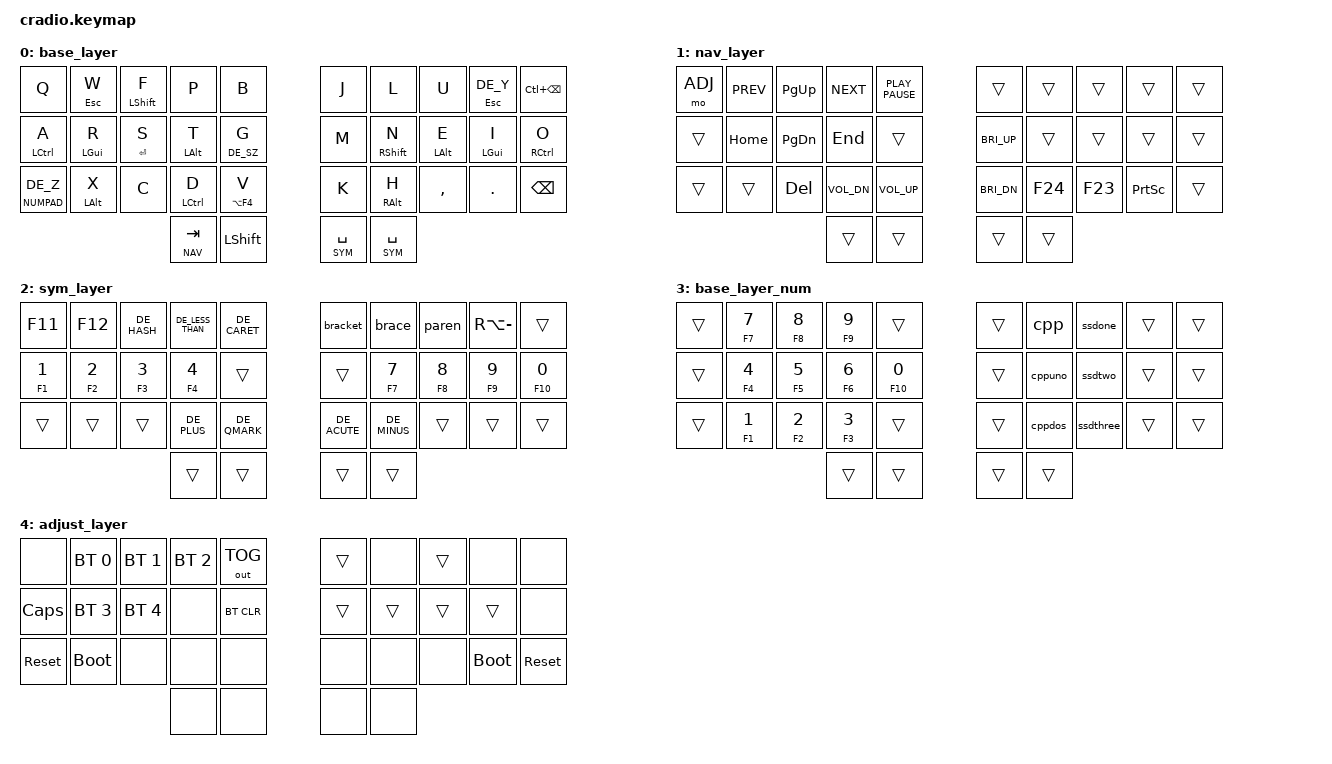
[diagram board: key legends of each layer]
/*
 * Copyright (c) 2020 The ZMK Contributors
 *
 * SPDX-License-Identifier: MIT
 */

#include <behaviors.dtsi>
#include <dt-bindings/zmk/keys.h>
#include <dt-bindings/zmk/bt.h>
#include <dt-bindings/zmk/outputs.h>

#include <dt-bindings/zmk/ext_power.h>
#include "keys_de.h"
#include "../zmk-nodefree-config/helper.h"
//this is the first commit



#define XXX &none
#define ___ &trans

#define BASE 0
#define NAV 1
#define SYM 2
#define NUMPAD 3 
#define ADJ 4


        /*                KEY POSITIONS
  ╭────────────────────╮ ╭────────────────────╮
  │  0   1   2   3   4 │ │  5   6   7   8   9 │
  │ 10  11  12  13  14 │ │ 15  16  17  18  19 │
  │ 20  21  22  23  24 │ │ 25  26  27  28  29 │
  ╰───────────╮ 30  31 │ │ 32  33 ╭───────────╯
              ╰────────╯ ╰────────╯            */


ZMK_COMBO(pwr,  &kp C_POWER, 0 4, ALL)
ZMK_COMBO(f23,  &kp F23, 10 20, ALL)
ZMK_COMBO(f24,  &kp F24, 19 29, ALL)

ZMK_COMBO(quote,&kp DE_DQT, 8 18, ALL)
ZMK_COMBO(apostroph,  &kp DE_APOS, 0 10, ALL)

ZMK_COMBO(five,  &kp N5, 3 13, ALL)
ZMK_COMBO(six,  &kp N6, 6 16, ALL)
ZMK_COMBO(ae,  &kp DE_A_UMLAUT, 10 17, ALL)
ZMK_COMBO(ue,  &kp DE_U_UMLAUT, 7 17, ALL)
ZMK_COMBO(oe,  &kp DE_O_UMLAUT, 17 19, ALL)


ZMK_COMBO(up,  &kp UP, 11 12 13, ALL)
ZMK_COMBO(down,  &kp DOWN, 11 13, ALL)
ZMK_COMBO(right,  &kp RIGHT, 12 13, ALL)
ZMK_COMBO(left,  &kp LEFT, 11 12, ALL)

ZMK_COMBO(scCombo,  &scModMorph, 12 22, ALL)
ZMK_COMBO(ecommaCombo,  &ecomma, 17 27, ALL)

//home row mods
ZMK_BEHAVIOR(hm, hold_tap,
    flavor = "tap-preferred";
    tapping-term-ms = <280>;
    quick-tap-ms = <125>;
    global-quick-tap;
    bindings = <&kp>, <&kp>;
)
ZMK_BEHAVIOR(hma, hold_tap,
    flavor = "tap-preferred";
    tapping-term-ms = <280>;
    quick-tap-ms = <125>;
    global-quick-tap;
    bindings = <&kp>, <&amac>;
)
ZMK_BEHAVIOR(hmr, hold_tap,
    flavor = "tap-preferred";
    tapping-term-ms = <280>;
    quick-tap-ms = <125>;
    global-quick-tap;
    bindings = <&kp>, <&rmac>;
)
ZMK_BEHAVIOR(hms, hold_tap,
    flavor = "tap-preferred";
    tapping-term-ms = <280>;
    quick-tap-ms = <125>;
    global-quick-tap;
    bindings = <&kp>, <&smac>;
)
ZMK_BEHAVIOR(hmt, hold_tap,
    flavor = "tap-preferred";
    tapping-term-ms = <280>;
    quick-tap-ms = <125>;
    global-quick-tap;
    bindings = <&kp>, <&tmac>;
)
ZMK_BEHAVIOR(hmn, hold_tap,
    flavor = "tap-preferred";
    tapping-term-ms = <280>;
    quick-tap-ms = <125>;
    global-quick-tap;
    bindings = <&kp>, <&nmac>;
)
ZMK_BEHAVIOR(hme, hold_tap,
    flavor = "tap-preferred";
    tapping-term-ms = <280>;
    quick-tap-ms = <125>;
    global-quick-tap;
    bindings = <&kp>, <&emac>;
)
ZMK_BEHAVIOR(hmi, hold_tap,
    flavor = "tap-preferred";
    tapping-term-ms = <280>;
    quick-tap-ms = <125>;
    global-quick-tap;
    bindings = <&kp>, <&imac>;
)
ZMK_BEHAVIOR(hmo, hold_tap,
    flavor = "tap-preferred";
    tapping-term-ms = <280>;
    quick-tap-ms = <125>;
    global-quick-tap;
    bindings = <&kp>, <&omac>;
)

//macros

    
ZMK_BEHAVIOR(ecomma, macro,
    wait-ms = <0>;
    tap-ms = <0>;
    bindings = <&kp E &kp COMMA>;)
ZMK_BEHAVIOR(sc, macro,
    wait-ms = <0>;
    tap-ms = <0>;
    bindings = <&kp S &kp C>;)

ZMK_BEHAVIOR(capitalSlowC, macro,
    wait-ms = <0>;
    tap-ms = <0>;
    bindings = <&kp LS(S) &kp C >;)
ZMK_BEHAVIOR(bracket, macro,
    wait-ms = <0>;
    tap-ms = <0>;
    bindings = <&kp DE_LEFT_BRACKET &kp DE_RIGHT_BRACKET &kp LEFT >;)
ZMK_BEHAVIOR(brace, macro,
    wait-ms = <0>;
    tap-ms = <0>;
    bindings = <&kp DE_LEFT_BRACE &kp DE_RIGHT_BRACE &kp LEFT >;)
ZMK_BEHAVIOR(paren, macro,
    wait-ms = <0>;
    tap-ms = <0>;
    bindings = <&kp DE_LEFT_PARENTHESIS &kp DE_RIGHT_PARENTHESIS &kp LEFT >;)
ZMK_BEHAVIOR(cppone, macro,
    wait-ms = <10>;
    tap-ms = <10>;
    bindings = < &kp DE_POUND &kp DE_I &kp DE_N &kp DE_C &kp DE_L &kp DE_U &kp DE_D &kp DE_E &kp DE_SPACE&kp DE_DQT &kp LS(DE_C) &kp LS(DE_P) &kp DE_W &kp DE_M &kp DE_N4 &kp DE_DOT &kp DE_H &kp DE_DQT &kp RET &kp LS(DE_C) &kp LS(DE_P) &kp DE_W &kp DE_M &kp DE_N4 &kp DE_COLON &kp DE_COLON &kp LS(DE_C) &kp LS(DE_P) &kp DE_W &kp DE_M &kp DE_N4 &kp DE_LPAR &kp DE_U &kp DE_I &kp DE_N &kp DE_T &kp DE_N1 &kp DE_N6 &kp DE_UNDER &kp DE_T &kp DE_SPACE&kp DE_P &kp DE_E &kp DE_R &kp DE_I &kp DE_O &kp DE_D &kp DE_RPAR &kp DE_SPACE&kp DE_LBRC &kp RET  &kp DE_M &kp DE_UNDER &kp DE_P &kp DE_W &kp DE_M &kp LS(DE_O) &kp DE_U &kp DE_T &kp DE_EQUAL &kp DE_N0 &kp DE_SEMI &kp RET  &kp LS(DE_R) &kp LS(DE_C) &kp LS(DE_C) &kp DE_MINUS &kp DE_GT &kp LS(DE_A) &kp LS(DE_P) &kp LS(DE_B) &kp DE_N1 &kp LS(DE_E) &kp LS(DE_N) &kp LS(DE_R) &kp DE_SPACE&kp DE_PIPE &kp DE_EQUAL &kp DE_SPACE&kp LS(DE_R) &kp LS(DE_C) &kp LS(DE_C) &kp DE_UNDER &kp LS(DE_A) &kp LS(DE_P) &kp LS(DE_B) &kp DE_N1 &kp LS(DE_E) &kp LS(DE_N) &kp LS(DE_R) &kp DE_UNDER &kp LS(DE_T) &kp LS(DE_I) &kp LS(DE_M) &kp DE_N3 &kp LS(DE_E) &kp LS(DE_N) &kp DE_SEMI &kp RET  &kp LS(DE_T) &kp LS(DE_I) &kp LS(DE_M) &kp DE_N3 &kp DE_MINUS &kp DE_GT &kp LS(DE_A) &kp LS(DE_R) &kp LS(DE_R) &kp DE_SPACE&kp DE_EQUAL &kp DE_SPACE&kp DE_P &kp DE_E &kp DE_R &kp DE_I &kp DE_O &kp DE_D &kp DE_SEMI &kp RET  &kp DE_S &kp DE_E &kp DE_T &kp LS(DE_D) &kp DE_U &kp DE_T &kp DE_Y &kp LS(DE_C) &kp DE_Y &kp DE_C &kp DE_L &kp DE_E &kp DE_LPAR &kp DE_N0 &kp DE_RPAR &kp DE_SEMI &kp RET  &kp DE_C &kp DE_O &kp DE_N &kp DE_F &kp DE_I &kp DE_G &kp DE_U &kp DE_R &kp DE_E &kp LS(DE_G) &kp DE_P &kp DE_I &kp DE_O &kp LS(DE_P) &kp DE_I &kp DE_N &kp DE_LPAR &kp DE_RPAR &kp DE_SEMI &kp RET  &kp DE_C &kp DE_O &kp DE_N &kp DE_F &kp DE_I &kp DE_G &kp DE_U &kp DE_R &kp DE_E &kp LS(DE_T) &kp DE_I &kp DE_M &kp DE_E &kp DE_R &kp DE_LPAR &kp DE_RPAR &kp DE_SEMI &kp RET  &kp DE_C &kp DE_O &kp DE_N &kp DE_F &kp DE_I &kp DE_G &kp DE_U &kp DE_R &kp DE_E &kp LS(DE_I) &kp DE_N &kp DE_T &kp DE_E &kp DE_R &kp DE_R &kp DE_U &kp DE_P &kp DE_T &kp DE_LPAR &kp DE_RPAR &kp DE_SEMI &kp RET &kp DE_RBRC &kp RET &kp DE_V &kp DE_O &kp DE_I &kp DE_D &kp DE_SPACE&kp LS(DE_C) &kp LS(DE_P) &kp DE_W &kp DE_M &kp DE_N4 &kp DE_COLON &kp DE_COLON &kp DE_C &kp DE_O &kp DE_N &kp DE_F &kp DE_I &kp DE_G &kp DE_U &kp DE_R &kp DE_E &kp LS(DE_G) &kp DE_P &kp DE_I &kp DE_O &kp LS(DE_P) &kp DE_I &kp DE_N &kp DE_LPAR &kp DE_RPAR &kp DE_SPACE&kp DE_LBRC  >;)
ZMK_BEHAVIOR(cpptwo, macro,
    wait-ms = <0>;
    tap-ms = <10>;
    bindings = < &kp LS(DE_M) &kp LS(DE_O) &kp LS(DE_D) &kp LS(DE_I) &kp LS(DE_F) &kp LS(DE_Y) &kp DE_UNDER &kp LS(DE_R) &kp LS(DE_E) &kp LS(DE_G) &kp DE_LPAR &kp LS(DE_G) &kp LS(DE_P) &kp LS(DE_I) &kp LS(DE_O) &kp LS(DE_C) &kp DE_MINUS &kp DE_GT &kp LS(DE_M) &kp LS(DE_O) &kp LS(DE_D) &kp LS(DE_E) &kp LS(DE_R) &kp DE_COMMA &kp DE_SPACE&kp LS(DE_G) &kp LS(DE_P) &kp LS(DE_I) &kp LS(DE_O) &kp DE_UNDER &kp LS(DE_M) &kp LS(DE_O) &kp LS(DE_D) &kp LS(DE_E) &kp LS(DE_R) &kp DE_UNDER &kp LS(DE_M) &kp LS(DE_O) &kp LS(DE_D) &kp LS(DE_E) &kp DE_N6 &kp DE_COMMA &kp DE_SPACE&kp DE_N2 &kp DE_SPACE&kp DE_LT &kp DE_LT &kp DE_SPACE&kp LS(DE_G) &kp LS(DE_P) &kp LS(DE_I) &kp LS(DE_O) &kp DE_UNDER &kp LS(DE_M) &kp LS(DE_O) &kp LS(DE_D) &kp LS(DE_E) &kp LS(DE_R) &kp DE_UNDER &kp LS(DE_M) &kp LS(DE_O) &kp LS(DE_D) &kp LS(DE_E) &kp DE_N6 &kp DE_UNDER &kp LS(DE_P) &kp DE_O &kp DE_S &kp DE_RPAR &kp DE_SEMI &kp RET  &kp LS(DE_M) &kp LS(DE_O) &kp LS(DE_D) &kp LS(DE_I) &kp LS(DE_F) &kp LS(DE_Y) &kp DE_UNDER &kp LS(DE_R) &kp LS(DE_E) &kp LS(DE_G) &kp DE_LPAR &kp LS(DE_G) &kp LS(DE_P) &kp LS(DE_I) &kp LS(DE_O) &kp LS(DE_C) &kp DE_MINUS &kp DE_GT &kp LS(DE_A) &kp LS(DE_F) &kp LS(DE_R) &kp DE_LBKT &kp DE_N0 &kp DE_RBKT &kp DE_COMMA &kp DE_SPACE&kp LS(DE_G) &kp LS(DE_P) &kp LS(DE_I) &kp LS(DE_O) &kp DE_UNDER &kp LS(DE_A) &kp LS(DE_F) &kp LS(DE_R) &kp LS(DE_L) &kp DE_UNDER &kp LS(DE_A) &kp LS(DE_F) &kp LS(DE_S) &kp LS(DE_E) &kp LS(DE_L) &kp DE_N6 &kp DE_COMMA &kp RET    &kp LS(DE_G) &kp LS(DE_P) &kp LS(DE_I) &kp LS(DE_O) &kp DE_UNDER &kp LS(DE_A) &kp LS(DE_F) &kp DE_N2 &kp DE_UNDER &kp LS(DE_T) &kp LS(DE_I) &kp LS(DE_M) &kp DE_N3 &kp DE_SPACE&kp DE_LT &kp DE_LT &kp DE_SPACE&kp LS(DE_G) &kp LS(DE_P) &kp LS(DE_I) &kp LS(DE_O) &kp DE_UNDER &kp LS(DE_A) &kp LS(DE_F) &kp LS(DE_R) &kp LS(DE_L) &kp DE_UNDER &kp LS(DE_A) &kp LS(DE_F) &kp LS(DE_S) &kp LS(DE_E) &kp LS(DE_L) &kp DE_N6 &kp DE_UNDER &kp LS(DE_P) &kp DE_O &kp DE_S &kp DE_RPAR &kp DE_SEMI &kp RET &kp RET &kp DE_RBRC &kp RET &kp RET &kp DE_V &kp DE_O &kp DE_I &kp DE_D &kp DE_SPACE&kp LS(DE_C) &kp LS(DE_P) &kp DE_W &kp DE_M &kp LS(DE_G) &kp DE_E &kp DE_N &kp DE_E &kp DE_R &kp DE_A &kp DE_T &kp DE_O &kp DE_R &kp DE_N4 &kp DE_COLON &kp DE_COLON &kp DE_C &kp DE_O &kp DE_N &kp DE_F &kp DE_I &kp DE_G &kp DE_U &kp DE_R &kp DE_E &kp LS(DE_T) &kp DE_I &kp DE_M &kp DE_E &kp DE_R &kp DE_LPAR &kp DE_RPAR &kp DE_SPACE&kp DE_LBRC &kp RET  &kp LS(DE_T) &kp LS(DE_I) &kp LS(DE_M) &kp DE_N3 &kp DE_MINUS &kp DE_GT &kp LS(DE_P) &kp LS(DE_S) &kp LS(DE_C) &kp DE_SPACE&kp DE_EQUAL &kp DE_SPACE&kp DE_N8 &kp DE_N4 &kp DE_SPACE&kp DE_MINUS &kp DE_SPACE&kp DE_N1 &kp DE_SEMI &kp RET  &kp LS(DE_M) &kp LS(DE_O) &kp LS(DE_D) &kp LS(DE_I) &kp LS(DE_F) &kp LS(DE_Y) &kp DE_UNDER &kp LS(DE_R) &kp LS(DE_E) &kp LS(DE_G) &kp DE_LPAR &kp LS(DE_T) &kp LS(DE_I) &kp LS(DE_M) &kp DE_N3 &kp DE_MINUS &kp DE_GT  >;)
    
ZMK_BEHAVIOR(cppthree, macro,
    wait-ms = <10>;
    tap-ms = <10>;
    bindings = < &kp LS(DE_C) &kp LS(DE_C) &kp LS(DE_M) &kp LS(DE_R) &kp DE_N1 &kp DE_COMMA &kp DE_SPACE&kp LS(DE_T) &kp LS(DE_I) &kp LS(DE_M) &kp DE_UNDER &kp LS(DE_C) &kp LS(DE_C) &kp LS(DE_M) &kp LS(DE_R) &kp DE_N1 &kp DE_UNDER &kp LS(DE_O) &kp LS(DE_C) &kp DE_N1 &kp LS(DE_M) &kp DE_COMMA &kp DE_SPACE&kp DE_N6 &kp DE_SPACE&kp DE_LT &kp DE_LT &kp DE_SPACE&kp LS(DE_T) &kp LS(DE_I) &kp LS(DE_M) &kp DE_UNDER &kp LS(DE_C) &kp LS(DE_C) &kp LS(DE_M) &kp LS(DE_R) &kp DE_N1 &kp DE_UNDER &kp LS(DE_O) &kp LS(DE_C) &kp DE_N1 &kp LS(DE_M) &kp DE_UNDER &kp LS(DE_P) &kp DE_O &kp DE_S &kp DE_RPAR &kp DE_SEMI &kp RET  &kp LS(DE_S) &kp LS(DE_E) &kp LS(DE_T) &kp DE_UNDER &kp LS(DE_B) &kp LS(DE_I) &kp LS(DE_T) &kp DE_LPAR &kp LS(DE_T) &kp LS(DE_I) &kp LS(DE_M) &kp DE_N3 &kp DE_MINUS &kp DE_GT &kp LS(DE_C) &kp LS(DE_C) &kp LS(DE_E) &kp LS(DE_R) &kp DE_COMMA &kp DE_SPACE&kp LS(DE_T) &kp LS(DE_I) &kp LS(DE_M) &kp DE_UNDER &kp LS(DE_C) &kp LS(DE_C) &kp LS(DE_E) &kp LS(DE_R) &kp DE_UNDER &kp LS(DE_C) &kp LS(DE_C) &kp DE_N1 &kp LS(DE_E) &kp DE_RPAR &kp DE_SEMI &kp RET  &kp LS(DE_S) &kp LS(DE_E) &kp LS(DE_T) &kp DE_UNDER &kp LS(DE_B) &kp LS(DE_I) &kp LS(DE_T) &kp DE_LPAR &kp LS(DE_T) &kp LS(DE_I) &kp LS(DE_M) &kp DE_N3 &kp DE_MINUS &kp DE_GT &kp LS(DE_E) &kp LS(DE_G) &kp LS(DE_R) &kp DE_COMMA &kp DE_SPACE&kp LS(DE_T) &kp LS(DE_I) &kp LS(DE_M) &kp DE_UNDER &kp LS(DE_E) &kp LS(DE_G) &kp LS(DE_R) &kp DE_UNDER &kp LS(DE_U) &kp LS(DE_G) &kp DE_RPAR &kp DE_SEMI &kp RET  &kp LS(DE_C) &kp LS(DE_L) &kp LS(DE_E) &kp LS(DE_A) &kp LS(DE_R) &kp DE_UNDER &kp LS(DE_B) &kp LS(DE_I) &kp LS(DE_T) &kp DE_LPAR &kp LS(DE_T) &kp LS(DE_I) &kp LS(DE_M) &kp DE_N3 &kp DE_MINUS &kp DE_GT &kp LS(DE_S) &kp LS(DE_R) &kp DE_COMMA &kp DE_SPACE&kp LS(DE_T) &kp LS(DE_I) &kp LS(DE_M) &kp DE_UNDER &kp LS(DE_S) &kp LS(DE_R) &kp DE_UNDER &kp LS(DE_U) &kp LS(DE_I) &kp LS(DE_F) &kp DE_RPAR &kp DE_SEMI &kp RET  &kp LS(DE_S) &kp LS(DE_E) &kp LS(DE_T) &kp DE_UNDER &kp LS(DE_B) &kp LS(DE_I) &kp LS(DE_T) &kp DE_LPAR &kp LS(DE_T) &kp LS(DE_I) &kp LS(DE_M) &kp DE_N3 &kp DE_MINUS &kp DE_GT &kp LS(DE_C) &kp LS(DE_R) &kp DE_N1 &kp DE_COMMA &kp DE_SPACE&kp LS(DE_T) &kp LS(DE_I) &kp LS(DE_M) &kp DE_UNDER &kp LS(DE_C) &kp LS(DE_R) &kp DE_N1 &kp DE_UNDER &kp LS(DE_C) &kp LS(DE_E) &kp LS(DE_N) &kp DE_RPAR &kp DE_SEMI &kp RET &kp RET &kp DE_RBRC &kp RET &kp RET &kp DE_V &kp DE_O &kp DE_I &kp DE_D &kp DE_SPACE&kp LS(DE_C) &kp LS(DE_P) &kp DE_W &kp DE_M &kp LS(DE_G) &kp DE_E &kp DE_N &kp DE_E &kp DE_R &kp DE_A &kp DE_T &kp DE_O &kp DE_R &kp DE_N4 &kp DE_COLON &kp DE_COLON &kp DE_S &kp DE_E &kp DE_T &kp LS(DE_D) &kp DE_U &kp DE_T &kp DE_Y &kp LS(DE_C) &kp DE_Y &kp DE_C &kp DE_L &kp DE_E &kp DE_LPAR &kp DE_U &kp DE_I &kp DE_N &kp DE_T &kp DE_N8 &kp DE_UNDER &kp DE_T &kp DE_SPACE&kp DE_P &kp DE_E &kp DE_R &kp DE_C &kp DE_E &kp DE_N &kp DE_T &kp DE_RPAR &kp DE_SPACE&kp DE_LBRC &kp RET >;)
    
  ZMK_BEHAVIOR(cppfour, macro,
    wait-ms = <10>;
    tap-ms = <10>;
    bindings = < &kp DE_P &kp DE_E &kp DE_R &kp DE_C &kp DE_E &kp DE_N &kp DE_T &kp DE_SPACE&kp DE_EQUAL &kp DE_SPACE&kp DE_A &kp DE_B &kp DE_S &kp DE_LPAR &kp DE_P &kp DE_E &kp DE_R &kp DE_C &kp DE_E &kp DE_N &kp DE_T &kp DE_RPAR &kp DE_SEMI &kp RET  &kp DE_P &kp DE_E &kp DE_R &kp DE_C &kp DE_E &kp DE_N &kp DE_T &kp DE_SPACE&kp DE_EQUAL &kp DE_SPACE&kp DE_P &kp DE_E &kp DE_R &kp DE_C &kp DE_E &kp DE_N &kp DE_T &kp DE_SPACE&kp DE_GT &kp DE_SPACE&kp DE_N1 &kp DE_N0 &kp DE_N0 &kp DE_SPACE&kp DE_QMARK &kp DE_SPACE&kp DE_N1 &kp DE_N0 &kp DE_N0 &kp DE_SPACE&kp DE_COLON &kp DE_SPACE&kp DE_P &kp DE_E &kp DE_R &kp DE_C &kp DE_E &kp DE_N &kp DE_T &kp DE_SEMI &kp RET  &kp LS(DE_T) &kp LS(DE_I) &kp LS(DE_M) &kp DE_N3 &kp DE_MINUS &kp DE_GT &kp LS(DE_C) &kp LS(DE_C) &kp LS(DE_R) &kp DE_N1 &kp DE_SPACE&kp DE_EQUAL &kp DE_SPACE&kp DE_LPAR &kp DE_F &kp DE_L &kp DE_O &kp DE_A &kp DE_T &kp DE_RPAR &kp DE_SPACE&kp DE_P &kp DE_E &kp DE_R &kp DE_C &kp DE_E &kp DE_N &kp DE_T &kp DE_SPACE&kp DE_FSLH &kp DE_SPACE&kp DE_N1 &kp DE_N0 &kp DE_N0 &kp DE_SPACE&kp DE_ASTRK &kp DE_SPACE&kp LS(DE_T) &kp LS(DE_I) &kp LS(DE_M) &kp DE_N3 &kp DE_MINUS &kp DE_GT &kp LS(DE_A) &kp LS(DE_R) &kp LS(DE_R) &kp DE_SEMI &kp RET &kp DE_RBRC &kp RET &kp RET &kp DE_V &kp DE_O &kp DE_I &kp DE_D &kp DE_SPACE&kp LS(DE_C) &kp LS(DE_P) &kp DE_W &kp DE_M &kp LS(DE_G) &kp DE_E &kp DE_N &kp DE_E &kp DE_R &kp DE_A &kp DE_T &kp DE_O &kp DE_R &kp DE_N4 &kp DE_COLON &kp DE_COLON &kp DE_H &kp DE_A &kp DE_N &kp DE_D &kp DE_L &kp DE_E &kp LS(DE_I) &kp DE_N &kp DE_T &kp DE_E &kp DE_R &kp DE_R &kp DE_U &kp DE_P &kp DE_T &kp DE_LPAR &kp DE_RPAR &kp DE_SPACE&kp DE_LBRC &kp RET &kp RET  &kp DE_I &kp DE_F &kp DE_SPACE&kp DE_LPAR &kp LS(DE_R) &kp LS(DE_E) &kp LS(DE_A) &kp LS(DE_D) &kp DE_UNDER &kp LS(DE_B) &kp LS(DE_I) &kp LS(DE_T) &kp DE_LPAR &kp LS(DE_T) &kp LS(DE_I) &kp LS(DE_M) &kp DE_N3 &kp DE_MINUS &kp DE_GT &kp LS(DE_S) &kp LS(DE_R) &kp DE_COMMA &kp DE_SPACE&kp LS(DE_T) &kp LS(DE_I) &kp LS(DE_M) &kp DE_UNDER &kp LS(DE_S) &kp LS(DE_R) &kp DE_UNDER &kp LS(DE_U) &kp LS(DE_I) &kp LS(DE_F) &kp DE_RPAR &kp DE_AMPS &kp DE_AMPS &kp DE_LPAR &kp LS(DE_T) &kp LS(DE_I) &kp LS(DE_M) &kp DE_N3 &kp DE_MINUS &kp DE_GT &kp LS(DE_C) &kp LS(DE_C) &kp LS(DE_R) &kp DE_N1 &kp DE_GT &kp DE_N0 &kp DE_RPAR &kp DE_RPAR &kp DE_SPACE&kp DE_LBRC &kp RET   &kp LS(DE_C) &kp LS(DE_L) &kp LS(DE_E) &kp LS(DE_A) &kp LS(DE_R) &kp DE_UNDER &kp LS(DE_B) &kp LS(DE_I) &kp LS(DE_T) &kp DE_LPAR &kp LS(DE_T) &kp LS(DE_I) &kp LS(DE_M) &kp DE_N3 &kp DE_MINUS &kp DE_GT &kp LS(DE_S) &kp LS(DE_R) &kp DE_COMMA &kp LS(DE_T) &kp LS(DE_I) &kp LS(DE_M) &kp DE_UNDER &kp LS(DE_S) &kp LS(DE_R) &kp DE_UNDER &kp LS(DE_U) &kp LS(DE_I) &kp LS(DE_F) &kp DE_RPAR &kp DE_SEMI &kp RET >;)
    
  ZMK_BEHAVIOR(cppfive, macro,
    wait-ms = <10>;
    tap-ms = <10>;
    bindings = < &kp DE_ASTRK &kp DE_M &kp DE_UNDER &kp DE_P &kp DE_W &kp DE_M &kp LS(DE_O) &kp DE_U &kp DE_T &kp DE_EQUAL &kp DE_N1 &kp DE_SEMI &kp RET  &kp DE_RBRC &kp RET &kp RET  &kp DE_I &kp DE_F &kp DE_LPAR &kp LS(DE_R) &kp LS(DE_E) &kp LS(DE_A) &kp LS(DE_D) &kp DE_UNDER &kp LS(DE_B) &kp LS(DE_I) &kp LS(DE_T) &kp DE_LPAR &kp LS(DE_T) &kp LS(DE_I) &kp LS(DE_M) &kp DE_N3 &kp DE_MINUS &kp DE_GT &kp LS(DE_S) &kp LS(DE_R) &kp DE_COMMA &kp LS(DE_T) &kp LS(DE_I) &kp LS(DE_M) &kp DE_UNDER &kp LS(DE_S) &kp LS(DE_R) &kp DE_UNDER &kp LS(DE_C) &kp LS(DE_C) &kp DE_N1 &kp LS(DE_I) &kp LS(DE_F) &kp DE_RPAR &kp DE_RPAR &kp DE_LBRC &kp RET   &kp LS(DE_C) &kp LS(DE_L) &kp LS(DE_E) &kp LS(DE_A) &kp LS(DE_R) &kp DE_UNDER &kp LS(DE_B) &kp LS(DE_I) &kp LS(DE_T) &kp DE_LPAR &kp LS(DE_T) &kp LS(DE_I) &kp LS(DE_M) &kp DE_N3 &kp DE_MINUS &kp DE_GT &kp LS(DE_S) &kp LS(DE_R) &kp DE_COMMA &kp LS(DE_T) &kp LS(DE_I) &kp LS(DE_M) &kp DE_UNDER &kp LS(DE_S) &kp LS(DE_R) &kp DE_UNDER &kp LS(DE_C) &kp LS(DE_C) &kp DE_N1 &kp LS(DE_I) &kp LS(DE_F) &kp DE_RPAR &kp DE_SEMI &kp RET   &kp DE_ASTRK &kp DE_M &kp DE_UNDER &kp DE_P &kp DE_W &kp DE_M &kp LS(DE_O) &kp DE_U &kp DE_T &kp DE_EQUAL &kp DE_N0 &kp DE_SEMI &kp RET  &kp DE_RBRC &kp RET  &kp DE_FSLH &kp DE_FSLH &kp DE_ASTRK &kp DE_M &kp DE_UNDER &kp DE_P &kp DE_W &kp DE_M &kp LS(DE_O) &kp DE_U &kp DE_T &kp DE_EQUAL &kp LS(DE_R) &kp LS(DE_E) &kp LS(DE_A) &kp LS(DE_D) &kp DE_UNDER &kp LS(DE_B) &kp LS(DE_I) &kp LS(DE_T) &kp DE_LPAR &kp LS(DE_T) &kp LS(DE_I) &kp LS(DE_M) &kp DE_N3 &kp DE_MINUS &kp DE_GT &kp LS(DE_E) &kp LS(DE_G) &kp LS(DE_R) &kp DE_COMMA &kp LS(DE_T) &kp LS(DE_I) &kp LS(DE_M) &kp DE_UNDER &kp LS(DE_E) &kp LS(DE_G) &kp LS(DE_R) &kp DE_UNDER &kp LS(DE_U) &kp LS(DE_G) &kp DE_UNDER &kp LS(DE_P) &kp DE_O &kp DE_S &kp DE_RPAR &kp DE_SEMI &kp RET &kp DE_RBRC &kp RET &kp RET &kp RET &kp DE_V &kp DE_O &kp DE_I &kp DE_D &kp DE_SPACE&kp LS(DE_C) &kp LS(DE_P) &kp DE_W &kp DE_M &kp LS(DE_G) &kp DE_E &kp DE_N &kp DE_E &kp DE_R &kp DE_A &kp DE_T &kp DE_O &kp DE_R &kp DE_N4 &kp DE_COLON &kp DE_COLON &kp DE_S &kp DE_E &kp DE_T &kp LS(DE_P) &kp DE_W &kp DE_M &kp LS(DE_O) &kp DE_U &kp DE_T &kp DE_LPAR &kp LS(DE_D) &kp DE_I &kp DE_G &kp DE_I &kp DE_T &kp DE_A &kp DE_L &kp LS(DE_O) &kp DE_U &kp DE_T &kp DE_ASTRK &kp DE_SPACE&kp DE_P &kp DE_I &kp DE_N &kp DE_RPAR &kp DE_SPACE&kp DE_LBRC &kp RET  &kp DE_M &kp DE_UNDER &kp DE_P &kp DE_W &kp DE_M &kp LS(DE_O) &kp DE_U &kp DE_T &kp DE_SPACE&kp DE_EQUAL &kp DE_SPACE&kp DE_P &kp DE_I &kp DE_N &kp DE_SEMI &kp RET >;)
  ZMK_BEHAVIOR(cppsix, macro,
    wait-ms = <10>;
    tap-ms = <10>;
    bindings = < &kp DE_RBRC &kp RET &kp RET &kp DE_V &kp DE_O &kp DE_I &kp DE_D &kp DE_SPACE&kp LS(DE_C) &kp LS(DE_P) &kp DE_W &kp DE_M &kp LS(DE_G) &kp DE_E &kp DE_N &kp DE_E &kp DE_R &kp DE_A &kp DE_T &kp DE_O &kp DE_R &kp DE_N4 &kp DE_COLON &kp DE_COLON &kp DE_C &kp DE_O &kp DE_N &kp DE_F &kp DE_I &kp DE_G &kp DE_U &kp DE_R &kp DE_E &kp LS(DE_I) &kp DE_N &kp DE_T &kp DE_E &kp DE_R &kp DE_R &kp DE_U &kp DE_P &kp DE_T &kp DE_LPAR &kp DE_RPAR &kp DE_SPACE&kp DE_LBRC &kp RET  &kp DE_A &kp DE_C &kp DE_T &kp DE_I &kp DE_V &kp DE_E &kp LS(DE_T) &kp LS(DE_I) &kp LS(DE_M) &kp DE_N3 &kp DE_UNDER &kp LS(DE_I) &kp LS(DE_R) &kp LS(DE_Q) &kp LS(DE_H) &kp DE_A &kp DE_N &kp DE_D &kp DE_L &kp DE_E &kp DE_R &kp DE_SPACE&kp DE_EQUAL &kp DE_SPACE&kp DE_B &kp DE_I &kp DE_N &kp DE_D &kp DE_LPAR &kp DE_AMPS &kp LS(DE_C) &kp LS(DE_P) &kp DE_W &kp DE_M &kp LS(DE_G) &kp DE_E &kp DE_N &kp DE_E &kp DE_R &kp DE_A &kp DE_T &kp DE_O &kp DE_R &kp DE_N4 &kp DE_COLON &kp DE_COLON &kp DE_H &kp DE_A &kp DE_N &kp DE_D &kp DE_L &kp DE_E &kp LS(DE_I) &kp DE_N &kp DE_T &kp DE_E &kp DE_R &kp DE_R &kp DE_U &kp DE_P &kp DE_T &kp DE_COMMA &kp DE_SPACE&kp DE_T &kp DE_H &kp DE_I &kp DE_S &kp DE_RPAR &kp DE_SEMI &kp RET  &kp DE_UNDER &kp DE_UNDER &kp LS(DE_N) &kp LS(DE_V) &kp LS(DE_I) &kp LS(DE_C) &kp DE_UNDER &kp LS(DE_E) &kp DE_N &kp DE_A &kp DE_B &kp DE_L &kp DE_E &kp LS(DE_I) &kp LS(DE_R) &kp LS(DE_Q) &kp DE_LPAR &kp LS(DE_T) &kp LS(DE_I) &kp LS(DE_M) &kp DE_N3 &kp DE_UNDER &kp LS(DE_I) &kp LS(DE_R) &kp LS(DE_Q) &kp DE_N &kp DE_RPAR &kp DE_SEMI &kp RET  &kp LS(DE_S) &kp LS(DE_E) &kp LS(DE_T) &kp DE_UNDER &kp LS(DE_B) &kp LS(DE_I) &kp LS(DE_T) &kp DE_LPAR &kp LS(DE_T) &kp LS(DE_I) &kp LS(DE_M) &kp DE_N3 &kp DE_MINUS &kp DE_GT &kp LS(DE_D) &kp LS(DE_I) &kp LS(DE_E) &kp LS(DE_R) &kp DE_COMMA &kp DE_SPACE&kp LS(DE_T) &kp LS(DE_I) &kp LS(DE_M) &kp DE_UNDER &kp LS(DE_D) &kp LS(DE_I) &kp LS(DE_E) &kp LS(DE_R) &kp DE_UNDER &kp LS(DE_U) &kp LS(DE_I) &kp LS(DE_E) &kp DE_RPAR &kp DE_SEMI &kp RET  &kp LS(DE_S) &kp LS(DE_E) &kp LS(DE_T) &kp DE_UNDER &kp LS(DE_B) &kp LS(DE_I) &kp LS(DE_T) &kp DE_LPAR &kp LS(DE_T) &kp LS(DE_I) &kp LS(DE_M) &kp DE_N3 &kp DE_MINUS &kp DE_GT &kp LS(DE_D) &kp LS(DE_I) &kp LS(DE_E) &kp LS(DE_R) &kp DE_COMMA &kp DE_SPACE&kp LS(DE_T) &kp LS(DE_I) &kp LS(DE_M) &kp DE_UNDER &kp LS(DE_D) &kp LS(DE_I) &kp LS(DE_E) &kp LS(DE_R) &kp DE_UNDER &kp LS(DE_C) &kp LS(DE_C) &kp DE_N1 &kp LS(DE_I) &kp LS(DE_E) &kp DE_RPAR &kp DE_SEMI &kp RET &kp DE_RBRC &kp RET  >;)
    
  ZMK_BEHAVIOR(ssdone, macro,
    wait-ms = <10>;
    tap-ms = <10>;
    bindings = <&kp LS(DE_C) &kp LS(DE_S) &kp DE_E &kp DE_V &kp DE_E &kp DE_N &kp LS(DE_S) &kp DE_E &kp DE_G &kp DE_M &kp DE_E &kp DE_N &kp DE_T &kp LS(DE_D) &kp DE_I &kp DE_S &kp DE_P &kp DE_L &kp DE_A &kp DE_Y &kp DE_SPACE&kp DE_ASTRK &kp LS(DE_C) &kp LS(DE_S) &kp DE_E &kp DE_V &kp DE_E &kp DE_N &kp LS(DE_S) &kp DE_E &kp DE_G &kp DE_M &kp DE_E &kp DE_N &kp DE_T &kp LS(DE_D) &kp DE_I &kp DE_S &kp DE_P &kp DE_L &kp DE_A &kp DE_Y &kp DE_COLON &kp DE_COLON &kp DE_M &kp DE_UNDER &kp DE_I &kp DE_N &kp DE_S &kp DE_T &kp DE_A &kp DE_N &kp DE_C &kp DE_E &kp DE_SEMI &kp RET &kp DE_FSLH &kp DE_FSLH &kp DE_D &kp DE_O &kp DE_N &kp DE_T &kp DE_SPACE&kp DE_F &kp DE_O &kp DE_R &kp DE_G &kp DE_E &kp DE_T &kp DE_SPACE&kp DE_I &kp DE_N &kp DE_I &kp DE_T &kp DE_SPACE&kp DE_T &kp DE_I &kp DE_M &kp DE_E &kp DE_R &kp DE_SPACE&kp DE_A &kp DE_N &kp DE_D &kp DE_SPACE&kp DE_C &kp DE_O &kp DE_N &kp DE_F &kp DE_I &kp DE_G &kp DE_U &kp DE_R &kp DE_E &kp DE_SPACE&kp DE_I &kp DE_N &kp DE_T &kp DE_E &kp DE_R &kp DE_R &kp DE_U &kp DE_P &kp DE_T &kp RET &kp DE_E &kp DE_X &kp DE_T &kp DE_E &kp DE_R &kp DE_N &kp DE_SPACE&kp DE_DQT &kp LS(DE_C) &kp DE_DQT &kp DE_SPACE&kp DE_V &kp DE_O &kp DE_I &kp DE_D &kp DE_SPACE&kp LS(DE_T) &kp LS(DE_I) &kp LS(DE_M) &kp DE_N1 &kp DE_UNDER &kp LS(DE_U) &kp LS(DE_P) &kp DE_UNDER &kp LS(DE_T) &kp LS(DE_I) &kp LS(DE_M) &kp DE_N1 &kp DE_N0 &kp DE_UNDER &kp LS(DE_I) &kp LS(DE_R) &kp LS(DE_Q) &kp LS(DE_H) &kp DE_A &kp DE_N &kp DE_D &kp DE_L &kp DE_E &kp DE_R &kp DE_LPAR &kp DE_RPAR &kp DE_SPACE&kp DE_LBRC &kp RET  &kp DE_I &kp DE_F &kp DE_SPACE&kp DE_LPAR &kp LS(DE_R) &kp LS(DE_E) &kp LS(DE_A) &kp LS(DE_D) &kp DE_UNDER &kp LS(DE_B) &kp LS(DE_I) &kp LS(DE_T) &kp DE_LPAR &kp LS(DE_T) &kp LS(DE_I) &kp LS(DE_M) &kp DE_N1 &kp DE_N0 &kp DE_MINUS &kp DE_GT &kp LS(DE_S) &kp LS(DE_R) &kp DE_COMMA &kp DE_SPACE&kp LS(DE_T) &kp LS(DE_I) &kp LS(DE_M) &kp DE_UNDER &kp LS(DE_S) &kp LS(DE_R) &kp DE_UNDER &kp LS(DE_U) &kp LS(DE_I) &kp LS(DE_F) &kp DE_RPAR &kp DE_RPAR &kp DE_SPACE&kp DE_LBRC  &kp DE_FSLH &kp DE_FSLH &kp DE_I &kp DE_S &kp DE_T &kp DE_SPACE&kp DE_U &kp DE_P &kp DE_D &kp DE_A &kp DE_T &kp DE_E &kp DE_SPACE&kp DE_I &kp DE_N &kp DE_T &kp DE_E &kp DE_R &kp DE_R &kp DE_U &kp DE_P &kp DE_T &kp DE_SPACE&kp DE_F &kp DE_L &kp DE_A &kp DE_G &kp DE_SPACE&kp DE_N1 &kp RET   &kp DE_FSLH &kp DE_FSLH &kp DE_C &kp DE_L &kp DE_E &kp DE_A &kp DE_R &kp DE_SPACE&kp DE_I &kp DE_T &kp RET &kp RET>;)

 ZMK_BEHAVIOR(ssdtwo, macro,
    wait-ms = <10>;
    tap-ms = <10>;
    bindings = <&kp LS(DE_C) &kp LS(DE_L) &kp LS(DE_E) &kp LS(DE_A) &kp LS(DE_R) &kp DE_UNDER &kp LS(DE_B) &kp LS(DE_I) &kp LS(DE_T) &kp DE_LPAR &kp LS(DE_T) &kp LS(DE_I) &kp LS(DE_M) &kp DE_N1 &kp DE_N0 &kp DE_MINUS &kp DE_GT &kp LS(DE_S) &kp LS(DE_R) &kp DE_COMMA &kp DE_SPACE&kp LS(DE_T) &kp LS(DE_I) &kp LS(DE_M) &kp DE_UNDER &kp LS(DE_S) &kp LS(DE_R) &kp DE_UNDER &kp LS(DE_U) &kp LS(DE_I) &kp LS(DE_F) &kp DE_RPAR &kp DE_SEMI &kp RET   &kp LS(DE_C) &kp LS(DE_S) &kp DE_E &kp DE_V &kp DE_E &kp DE_N &kp LS(DE_S) &kp DE_E &kp DE_G &kp DE_M &kp DE_E &kp DE_N &kp DE_T &kp LS(DE_D) &kp DE_I &kp DE_S &kp DE_P &kp DE_L &kp DE_A &kp DE_Y &kp DE_COLON &kp DE_COLON &kp DE_M &kp DE_UNDER &kp DE_I &kp DE_N &kp DE_S &kp DE_T &kp DE_A &kp DE_N &kp DE_C &kp DE_E &kp DE_MINUS &kp DE_GT &kp DE_A &kp DE_C &kp DE_T &kp DE_I &kp DE_V &kp DE_A &kp DE_T &kp DE_E &kp LS(DE_N) &kp DE_E &kp DE_X &kp DE_T &kp LS(DE_D) &kp DE_I &kp DE_G &kp DE_I &kp DE_T &kp DE_LPAR &kp DE_RPAR &kp DE_SEMI &kp RET &kp RET  &kp DE_RBRC &kp RET  &kp DE_I &kp DE_F &kp DE_SPACE&kp DE_LPAR &kp LS(DE_R) &kp LS(DE_E) &kp LS(DE_A) &kp LS(DE_D) &kp DE_UNDER &kp LS(DE_B) &kp LS(DE_I) &kp LS(DE_T) &kp DE_LPAR &kp LS(DE_T) &kp LS(DE_I) &kp LS(DE_M) &kp DE_N1 &kp DE_N0 &kp DE_MINUS &kp DE_GT &kp LS(DE_S) &kp LS(DE_R) &kp DE_COMMA &kp DE_SPACE&kp LS(DE_T) &kp LS(DE_I) &kp LS(DE_M) &kp DE_UNDER &kp LS(DE_S) &kp LS(DE_R) &kp DE_UNDER &kp LS(DE_C) &kp LS(DE_C) &kp DE_N1 &kp LS(DE_I) &kp LS(DE_F) &kp DE_RPAR &kp DE_RPAR &kp DE_SPACE&kp DE_LBRC &kp RET   &kp LS(DE_C) &kp LS(DE_L) &kp LS(DE_E) &kp LS(DE_A) &kp LS(DE_R) &kp DE_UNDER &kp LS(DE_B) &kp LS(DE_I) &kp LS(DE_T) &kp DE_LPAR &kp LS(DE_T) &kp LS(DE_I) &kp LS(DE_M) &kp DE_N1 &kp DE_N0 &kp DE_MINUS &kp DE_GT &kp LS(DE_S) &kp LS(DE_R) &kp DE_COMMA &kp DE_SPACE&kp LS(DE_T) &kp LS(DE_I) &kp LS(DE_M) &kp DE_UNDER &kp LS(DE_S) &kp LS(DE_R) &kp DE_UNDER &kp LS(DE_C) &kp LS(DE_C) &kp DE_N1 &kp LS(DE_I) &kp LS(DE_F) &kp DE_RPAR &kp DE_SEMI &kp RET   &kp LS(DE_C) &kp LS(DE_S) &kp DE_E &kp DE_V &kp DE_E &kp DE_N &kp LS(DE_S) &kp DE_E &kp DE_G &kp DE_M &kp DE_E &kp DE_N &kp DE_T &kp LS(DE_D) &kp DE_I &kp DE_S &kp DE_P &kp DE_L &kp DE_A &kp DE_Y &kp DE_COLON &kp DE_COLON &kp DE_M &kp DE_UNDER &kp DE_I &kp DE_N &kp DE_S &kp DE_T &kp DE_A &kp DE_N &kp DE_C &kp DE_E &kp DE_MINUS &kp DE_GT &kp DE_T &kp DE_U &kp DE_R &kp DE_N &kp LS(DE_O) &kp DE_F &kp DE_F &kp LS(DE_D) &kp DE_I &kp DE_G &kp DE_I &kp DE_T &kp DE_S &kp DE_LPAR &kp DE_RPAR &kp DE_SEMI >;)
 ZMK_BEHAVIOR(ssdthree, macro,
    wait-ms = <10>;
    tap-ms = <10>;
    bindings = <&kp DE_RBRC &kp RET &kp DE_RBRC &kp RET &kp DE_I &kp DE_N &kp DE_SPACE&kp DE_D &kp DE_E &kp DE_R &kp DE_SPACE&kp DE_H &kp DE_E &kp DE_A &kp DE_D &kp DE_E &kp DE_R &kp RET &kp DE_POUND &kp DE_I &kp DE_N &kp DE_C &kp DE_L &kp DE_U &kp DE_D &kp DE_E &kp DE_SPACE&kp DE_DQT &kp DE_M &kp DE_B &kp DE_E &kp DE_D &kp DE_DOT &kp DE_H &kp DE_DQT &kp RET &kp DE_E &kp DE_X &kp DE_T &kp DE_E &kp DE_R &kp DE_N &kp DE_SPACE&kp DE_DQT &kp LS(DE_C) &kp DE_DQT &kp DE_SPACE&kp DE_V &kp DE_O &kp DE_I &kp DE_D &kp DE_SPACE&kp LS(DE_T) &kp LS(DE_I) &kp LS(DE_M) &kp DE_N1 &kp DE_UNDER &kp LS(DE_U) &kp LS(DE_P) &kp DE_UNDER &kp LS(DE_T) &kp LS(DE_I) &kp LS(DE_M) &kp DE_N1 &kp DE_N0 &kp DE_UNDER &kp LS(DE_I) &kp LS(DE_R) &kp LS(DE_Q) &kp LS(DE_H) &kp DE_A &kp DE_N &kp DE_D &kp DE_L &kp DE_E &kp DE_R &kp DE_LPAR &kp DE_RPAR &kp DE_SEMI &kp RET  &kp DE_F &kp DE_R &kp DE_I &kp DE_E &kp DE_N &kp DE_D &kp DE_SPACE&kp DE_V &kp DE_O &kp DE_I &kp DE_D &kp DE_SPACE&kp LS(DE_T) &kp LS(DE_I) &kp LS(DE_M) &kp DE_N1 &kp DE_UNDER &kp LS(DE_U) &kp LS(DE_P) &kp DE_UNDER &kp LS(DE_T) &kp LS(DE_I) &kp LS(DE_M) &kp DE_N1 &kp DE_N0 &kp DE_UNDER &kp LS(DE_I) &kp LS(DE_R) &kp LS(DE_Q) &kp LS(DE_H) &kp DE_A &kp DE_N &kp DE_D &kp DE_L &kp DE_E &kp DE_R &kp DE_LPAR &kp DE_RPAR &kp DE_SEMI &kp RET >;)
 
ZMK_BEHAVIOR(cpp, macro,
    wait-ms = <10>;
    tap-ms = <10>;
    bindings = <&cppone &cpptwo >;)
 ZMK_BEHAVIOR(cppuno, macro,
    wait-ms = <10>;
    tap-ms = <10>;
    bindings = <&cppthree &cppfour >;)
 ZMK_BEHAVIOR(cppdos, macro,
    wait-ms = <10>;
    tap-ms = <10>;
    bindings = <&cppfive &cppsix>;)
 

 ZMK_BEHAVIOR(amac, macro,
    wait-ms = <0>;
    tap-ms = <20>;
    bindings = <&kp A>;)
     ZMK_BEHAVIOR(rmac, macro,
    wait-ms = <0>;
    tap-ms = <20>;
    bindings = <&kp R>;)
     ZMK_BEHAVIOR(smac, macro,
    wait-ms = <0>;
    tap-ms = <20>;
    bindings = <&kp S>;)
     ZMK_BEHAVIOR(tmac, macro,
    wait-ms = <0>;
    tap-ms = <20>;
    bindings = <&kp T>;)
     ZMK_BEHAVIOR(nmac, macro,
    wait-ms = <0>;
    tap-ms = <20>;
    bindings = <&kp N>;)
     ZMK_BEHAVIOR(emac, macro,
    wait-ms = <0>;
    tap-ms = <20>;
    bindings = <&kp E>;)
     ZMK_BEHAVIOR(imac, macro,
    wait-ms = <0>;
    tap-ms = <20>;
    bindings = <&kp I>;)
     ZMK_BEHAVIOR(omac, macro,
    wait-ms = <0>;
    tap-ms = <20>;
    bindings = <&kp O>;)


//mod morph
ZMK_BEHAVIOR(scModMorph, mod_morph,
    bindings = <&sc>, <&capitalSlowC>;
    mods = <(MOD_LSFT|MOD_RSFT)>;
)


/ {



  keymap {
    compatible = "zmk,keymap";

    base_layer {
      bindings = <
        // ╭─────────────┬─────────────┬─────────────┬─────────────┬─────────────╮   ╭─────────────┬─────────────┬─────────────┬─────────────┬─────────────╮
                 &kp Q      &hm ESC W    &hm LSHIFT F    &kp P         &kp B             &kp J          &kp L        &kp U       &hm ESC DE_Y  &kp LC(BSPC)
        // ├─────────────┼─────────────┼─────────────┼─────────────┼─────────────┤   ├─────────────┼─────────────┼─────────────┼─────────────┼─────────────┤
            &hma LCTRL A     &hmr LGUI R   &hms RET S  &hmt LALT T    &hm DE_SZ G         &kp M       &hmn RSHFT N   &hme LALT E   &hmi LGUI I    &hmo RCTRL O
        // ├─────────────┼─────────────┼─────────────┼─────────────┼─────────────┤   ├─────────────┼─────────────┼─────────────┼─────────────┼─────────────┤
          &lt NUMPAD DE_Z   &hm LALT X      &kp C      &hm LCTRL D   &hm LA(F4) V        &kp K       &hm RALT H    &kp COMMA     &kp DOT       &kp BSPC
        // ╰─────────────┴─────────────┴─────────────┼─────────────┼─────────────┤   ├─────────────┼─────────────┼─────────────┴─────────────┴─────────────╯
                                                       &lt NAV TAB   &kp LSHFT          &lt SYM SPC   &lt SYM SPC
        //                                           ╰─────────────┴─────────────╯   ╰─────────────┴─────────────╯
      >;
    };
      

    nav_layer {
      bindings = <
        // ╭─────────────┬─────────────┬─────────────┬─────────────┬─────────────╮   ╭─────────────┬─────────────┬─────────────┬─────────────┬─────────────╮
               &mo ADJ      &kp C_PREV    &kp PG_UP      &kp C_NEXT &kp K_PLAY_PAUSE       ___           ___           ___           ___           ___
        // ├─────────────┼─────────────┼─────────────┼─────────────┼─────────────┤   ├─────────────┼─────────────┼─────────────┼─────────────┼─────────────┤
                 ___        &kp HOME      &kp PG_DN      &kp END         ___          &kp C_BRI_UP       ___           ___           ___           ___
        // ├─────────────┼─────────────┼─────────────┼─────────────┼─────────────┤   ├─────────────┼─────────────┼─────────────┼─────────────┼─────────────┤
                 ___           ___         &kp DEL     &kp C_VOL_DN  &kp C_VOL_UP      &kp C_BRI_DN    &kp F24       &kp F23      &kp PSCRN        ___
        // ╰─────────────┴─────────────┴─────────────┼─────────────┼─────────────┤   ├─────────────┼─────────────┼─────────────┴─────────────┴─────────────╯
                                                           ___           ___               ___           ___
        //                                           ╰─────────────┴─────────────╯   ╰─────────────┴─────────────╯
      >;
    };

    sym_layer {
      bindings = <
        // ╭─────────────┬─────────────┬─────────────┬─────────────┬─────────────╮   ╭─────────────┬─────────────┬─────────────┬─────────────┬─────────────╮
               &kp F11       &kp F12   &kp DE_HASH &kp DE_LESS_THAN &kp DE_CARET &bracket      &brace         &paren     &kp RA(MINUS)     ___
        // ├─────────────┼─────────────┼─────────────┼─────────────┼─────────────┤   ├─────────────┼─────────────┼─────────────┼─────────────┼─────────────┤
               &hm F1 N1    &hm F2 N2    &hm F3 N3      &hm F4 N4        ___               ___      &hm F7 N7    &hm F8 N8    &hm F9 N9     &hm F10 N0
        // ├─────────────┼─────────────┼─────────────┼─────────────┼─────────────┤   ├─────────────┼─────────────┼─────────────┼─────────────┼─────────────┤
                 ___           ___           ___        &kp DE_PLUS  &kp DE_QMARK      &kp DE_ACUTE &kp DE_MINUS       ___           ___           ___
        // ╰─────────────┴─────────────┴─────────────┼─────────────┼─────────────┤   ├─────────────┼─────────────┼─────────────┴─────────────┴─────────────╯
                                                           ___           ___               ___          ___
        //                                           ╰─────────────┴─────────────╯   ╰─────────────┴─────────────╯
      >;
    };

    base_layer_num {
      bindings = <
        // ╭─────────────┬─────────────┬─────────────┬─────────────┬─────────────╮   ╭─────────────┬─────────────┬─────────────┬─────────────┬─────────────╮
                 ___        &hm F7 N7     &hm F8 N8    &hm F9 N9         ___               ___           &cpp       &ssdone          ___           ___
        // ├─────────────┼─────────────┼─────────────┼─────────────┼─────────────┤   ├─────────────┼─────────────┼─────────────┼─────────────┼─────────────┤
                 ___        &hm F4 N4     &hm F5 N5    &hm F6 N6     &hm F10 N0            ___           &cppuno    &ssdtwo          ___           ___
        // ├─────────────┼─────────────┼─────────────┼─────────────┼─────────────┤   ├─────────────┼─────────────┼─────────────┼─────────────┼─────────────┤
                 ___        &hm F1 N1     &hm F2 N2    &hm F3 N3         ___               ___           &cppdos    &ssdthree        ___           ___
        // ╰─────────────┴─────────────┴─────────────┼─────────────┼─────────────┤   ├─────────────┼─────────────┼─────────────┴─────────────┴─────────────╯
                                                           ___           ___               ___           ___
        //                                           ╰─────────────┴─────────────╯   ╰─────────────┴─────────────╯
      >;
    };

    adjust_layer {
      bindings = <
        // ╭─────────────┬─────────────┬─────────────┬─────────────┬─────────────╮   ╭─────────────┬─────────────┬─────────────┬─────────────┬─────────────╮
             XXX           &bt BT_SEL 0 &bt BT_SEL 1 &bt BT_SEL 2   &out OUT_TOG           ___           XXX           ___           XXX           XXX
        // ├─────────────┼─────────────┼─────────────┼─────────────┼─────────────┤   ├─────────────┼─────────────┼─────────────┼─────────────┼─────────────┤
                &kp CAPS  &bt BT_SEL 3   &bt BT_SEL 4     XXX        &bt BT_CLR           ___           ___           ___           ___           XXX
        // ├─────────────┼─────────────┼─────────────┼─────────────┼─────────────┤   ├─────────────┼─────────────┼─────────────┼─────────────┼─────────────┤
            &sys_reset     &bootloader       XXX           XXX           XXX               XXX           XXX           XXX       &bootloader    &sys_reset
        // ╰─────────────┴─────────────┴─────────────┼─────────────┼─────────────┤   ├─────────────┼─────────────┼─────────────┴─────────────┴─────────────╯
                                                           XXX           XXX               XXX           XXX
        //                                           ╰─────────────┴─────────────╯   ╰─────────────┴─────────────╯
      >;
    };
  };
};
